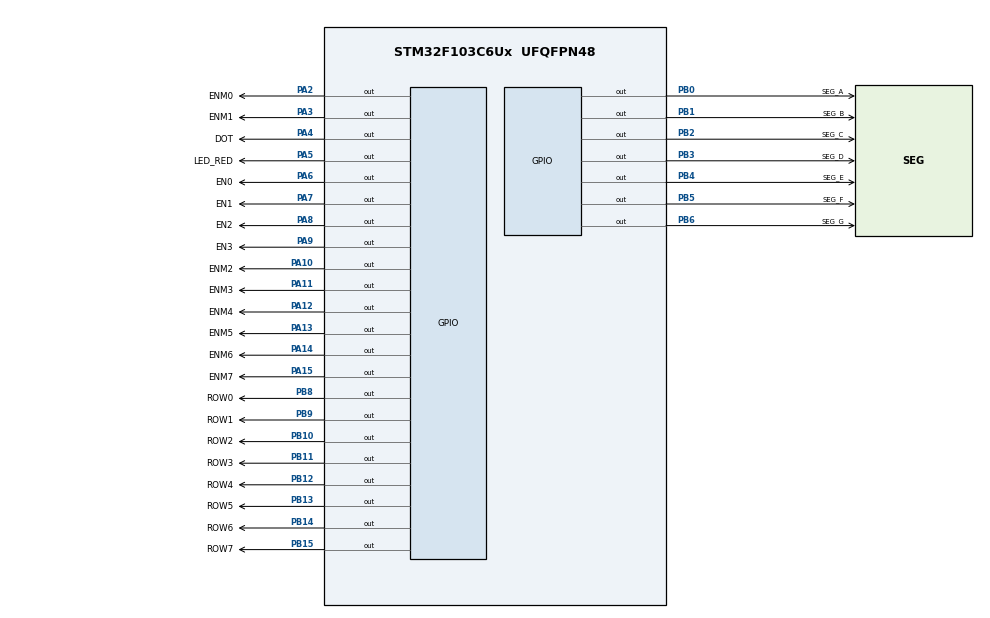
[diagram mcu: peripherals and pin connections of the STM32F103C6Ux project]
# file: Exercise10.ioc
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Mcu.Family=STM32F1
Mcu.Name=STM32F103C6Ux
Mcu.Package=UFQFPN48
NVIC.PriorityGroup=NVIC_PRIORITYGROUP_4
NVIC.TIM2_IRQn=true\:0\:0\:false\:false\:true\:true\:true
PA10.GPIO_Label=ENM2
PA10.Signal=GPIO_Output
PA11.GPIO_Label=ENM3
PA11.Signal=GPIO_Output
PA12.GPIO_Label=ENM4
PA12.Signal=GPIO_Output
PA13.GPIO_Label=ENM5
PA13.Signal=GPIO_Output
PA14.GPIO_Label=ENM6
PA14.Signal=GPIO_Output
PA15.GPIO_Label=ENM7
PA15.Signal=GPIO_Output
PA2.GPIO_Label=ENM0
PA2.Signal=GPIO_Output
PA3.GPIO_Label=ENM1
PA3.Signal=GPIO_Output
PA4.GPIO_Label=DOT
PA4.PinState=GPIO_PIN_SET
PA4.Signal=GPIO_Output
PA5.GPIO_Label=LED_RED
PA5.PinState=GPIO_PIN_SET
PA5.Signal=GPIO_Output
PA6.GPIO_Label=EN0
PA6.PinState=GPIO_PIN_SET
PA6.Signal=GPIO_Output
PA7.GPIO_Label=EN1
PA7.PinState=GPIO_PIN_SET
PA7.Signal=GPIO_Output
PA8.GPIO_Label=EN2
PA8.PinState=GPIO_PIN_SET
PA8.Signal=GPIO_Output
PA9.GPIO_Label=EN3
PA9.PinState=GPIO_PIN_SET
PA9.Signal=GPIO_Output
PB0.GPIO_Label=SEG_A
PB0.PinState=GPIO_PIN_SET
PB0.Signal=GPIO_Output
PB1.GPIO_Label=SEG_B
PB1.PinState=GPIO_PIN_SET
PB1.Signal=GPIO_Output
PB10.GPIO_Label=ROW2
PB10.Signal=GPIO_Output
PB11.GPIO_Label=ROW3
PB11.Signal=GPIO_Output
PB12.GPIO_Label=ROW4
PB12.Signal=GPIO_Output
PB13.GPIO_Label=ROW5
PB13.Signal=GPIO_Output
PB14.GPIO_Label=ROW6
PB14.Signal=GPIO_Output
PB15.GPIO_Label=ROW7
PB15.Signal=GPIO_Output
PB2.GPIO_Label=SEG_C
PB2.PinState=GPIO_PIN_SET
PB2.Signal=GPIO_Output
PB3.GPIO_Label=SEG_D
PB3.PinState=GPIO_PIN_SET
PB3.Signal=GPIO_Output
PB4.GPIO_Label=SEG_E
PB4.PinState=GPIO_PIN_SET
PB4.Signal=GPIO_Output
PB5.GPIO_Label=SEG_F
PB5.PinState=GPIO_PIN_SET
PB5.Signal=GPIO_Output
PB6.GPIO_Label=SEG_G
PB6.PinState=GPIO_PIN_SET
PB6.Signal=GPIO_Output
PB8.GPIO_Label=ROW0
PB8.Signal=GPIO_Output
PB9.GPIO_Label=ROW1
PB9.Signal=GPIO_Output
ProjectManager.HeapSize=0x200
ProjectManager.StackSize=0x400
ProjectManager.TargetToolchain=STM32CubeIDE
RCC.APB1Freq_Value=8000000
RCC.APB2Freq_Value=8000000
TIM2.Period=9
TIM2.Prescaler=7999
VP_SYS_VS_ND.Mode=No_Debug
VP_TIM2_VS_ClockSourceINT.Mode=Internal
board=custom

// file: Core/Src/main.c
/* USER CODE BEGIN Header */
/**
  * @file    main.c
  * @brief   Exercise 10 - 8x8 LED Matrix animation (character "A" moves left/right)
  */
/* USER CODE END Header */
#include "main.h"

TIM_HandleTypeDef htim2;

/* USER CODE BEGIN PV */
// ---- Clock ----
int hour = 15, minute = 8, second = 50;

// ---- 4 seven-segment LEDs ----
const int MAX_LED = 4;
int index_led = 0;
int led_buffer[4] = {1, 2, 3, 4};

// ---- LED matrix: each byte = one ROW, bit n = column n ----
const int MAX_LED_MATRIX = 8;
int index_led_matrix = 0;

// Original character "A" (never modified, used as the source of the animation)
const uint8_t A_pattern[8] = {0x18, 0x24, 0x24, 0x24, 0x3C, 0x24, 0x24, 0x24};

// Buffer actually displayed on the matrix
uint8_t matrix_buffer[8] = {0x18, 0x24, 0x24, 0x24, 0x3C, 0x24, 0x24, 0x24};

// ---- Animation ----
#define ANIMATION_PERIOD 300        // ms between two shifts
#define MAX_SHIFT        2          // "A" is 4 columns wide -> can move 2 columns each side
#define START_DIR       -1          // -1: start moving toward column 0, +1: the opposite
int shift_pos = 0;                  // 0 = center, <0 toward column 0, >0 toward column 7
int shift_dir = START_DIR;

GPIO_TypeDef* enm_port[8] = {ENM0_GPIO_Port, ENM1_GPIO_Port, ENM2_GPIO_Port, ENM3_GPIO_Port,
                             ENM4_GPIO_Port, ENM5_GPIO_Port, ENM6_GPIO_Port, ENM7_GPIO_Port};
uint16_t enm_pin[8] = {ENM0_Pin, ENM1_Pin, ENM2_Pin, ENM3_Pin,
                       ENM4_Pin, ENM5_Pin, ENM6_Pin, ENM7_Pin};

// ---- Software timers (TIM2: Prescaler 7999, Period 9 -> 10ms) ----
int TIMER_CYCLE = 10;
volatile int timer0_counter = 0, timer0_flag = 0;   // 1s (clock + DOT)
volatile int timer1_counter = 0, timer1_flag = 0;   // 7SEG scan
volatile int timer2_counter = 0, timer2_flag = 0;   // matrix scan
volatile int timer3_counter = 0, timer3_flag = 0;   // animation
/* USER CODE END PV */

void SystemClock_Config(void);
static void MX_GPIO_Init(void);
static void MX_TIM2_Init(void);
/* USER CODE BEGIN PFP */
void display7SEG(int num);
void update7SEG(int index);
void updateClockBuffer(void);
void updateLEDMatrix(int index);
void updateAnimation(void);
void setTimer0(int duration);
void setTimer1(int duration);
void setTimer2(int duration);
void setTimer3(int duration);
void timer_run(void);
/* USER CODE END PFP */

int main(void)
{

  HAL_Init();

  SystemClock_Config();

  MX_GPIO_Init();
  MX_TIM2_Init();
  /* USER CODE BEGIN 2 */
  // Matrix idle: all rows High (off), all columns High (ENM High -> dark)
  GPIOB->ODR |= 0xFF00;
  HAL_GPIO_WritePin(GPIOA, ENM0_Pin|ENM1_Pin|ENM2_Pin|ENM3_Pin
                          |ENM4_Pin|ENM5_Pin|ENM6_Pin|ENM7_Pin, GPIO_PIN_SET);

  HAL_TIM_Base_Start_IT(&htim2);
  updateClockBuffer();
  setTimer0(1000);
  setTimer1(500);
  setTimer2(10);
  setTimer3(ANIMATION_PERIOD);
  /* USER CODE END 2 */

  while (1)
  {

    /* USER CODE BEGIN 3 */
    if (timer0_flag == 1) {
        setTimer0(1000);
        second++;
        if (second >= 60) { second = 0; minute++; }
        if (minute >= 60) { minute = 0; hour++; }
        if (hour >= 24)   { hour = 0; }
        updateClockBuffer();
        HAL_GPIO_TogglePin(DOT_GPIO_Port, DOT_Pin);
    }

    if (timer1_flag == 1) {
        setTimer1(500);
        update7SEG(index_led++);
        if (index_led >= MAX_LED) index_led = 0;
    }

    if (timer2_flag == 1) {
        setTimer2(10);
        updateLEDMatrix(index_led_matrix++);
        if (index_led_matrix >= MAX_LED_MATRIX) index_led_matrix = 0;
    }

    if (timer3_flag == 1) {
        setTimer3(ANIMATION_PERIOD);
        updateAnimation();
    }
    /* USER CODE END 3 */
  }
}

void SystemClock_Config(void)
{
  RCC_OscInitTypeDef RCC_OscInitStruct = {0};
  RCC_ClkInitTypeDef RCC_ClkInitStruct = {0};

  RCC_OscInitStruct.OscillatorType = RCC_OSCILLATORTYPE_HSI;
  RCC_OscInitStruct.HSIState = RCC_HSI_ON;
  RCC_OscInitStruct.HSICalibrationValue = RCC_HSICALIBRATION_DEFAULT;
  RCC_OscInitStruct.PLL.PLLState = RCC_PLL_NONE;
  if (HAL_RCC_OscConfig(&RCC_OscInitStruct) != HAL_OK)
  {
    Error_Handler();
  }
  RCC_ClkInitStruct.ClockType = RCC_CLOCKTYPE_HCLK|RCC_CLOCKTYPE_SYSCLK
                              |RCC_CLOCKTYPE_PCLK1|RCC_CLOCKTYPE_PCLK2;
  RCC_ClkInitStruct.SYSCLKSource = RCC_SYSCLKSOURCE_HSI;
  RCC_ClkInitStruct.AHBCLKDivider = RCC_SYSCLK_DIV1;
  RCC_ClkInitStruct.APB1CLKDivider = RCC_HCLK_DIV1;
  RCC_ClkInitStruct.APB2CLKDivider = RCC_HCLK_DIV1;

  if (HAL_RCC_ClockConfig(&RCC_ClkInitStruct, FLASH_LATENCY_0) != HAL_OK)
  {
    Error_Handler();
  }
}

static void MX_TIM2_Init(void)
{
  TIM_ClockConfigTypeDef sClockSourceConfig = {0};
  TIM_MasterConfigTypeDef sMasterConfig = {0};

  htim2.Instance = TIM2;
  htim2.Init.Prescaler = 7999;
  htim2.Init.CounterMode = TIM_COUNTERMODE_UP;
  htim2.Init.Period = 9;
  htim2.Init.ClockDivision = TIM_CLOCKDIVISION_DIV1;
  htim2.Init.AutoReloadPreload = TIM_AUTORELOAD_PRELOAD_DISABLE;
  if (HAL_TIM_Base_Init(&htim2) != HAL_OK)
  {
    Error_Handler();
  }
  sClockSourceConfig.ClockSource = TIM_CLOCKSOURCE_INTERNAL;
  if (HAL_TIM_ConfigClockSource(&htim2, &sClockSourceConfig) != HAL_OK)
  {
    Error_Handler();
  }
  sMasterConfig.MasterOutputTrigger = TIM_TRGO_RESET;
  sMasterConfig.MasterSlaveMode = TIM_MASTERSLAVEMODE_DISABLE;
  if (HAL_TIMEx_MasterConfigSynchronization(&htim2, &sMasterConfig) != HAL_OK)
  {
    Error_Handler();
  }
}

static void MX_GPIO_Init(void)
{
  GPIO_InitTypeDef GPIO_InitStruct = {0};

  __HAL_RCC_GPIOA_CLK_ENABLE();
  __HAL_RCC_GPIOB_CLK_ENABLE();

  HAL_GPIO_WritePin(GPIOA, ENM0_Pin|ENM1_Pin|ENM2_Pin|ENM3_Pin
                          |ENM4_Pin|ENM5_Pin|ENM6_Pin|ENM7_Pin, GPIO_PIN_RESET);

  HAL_GPIO_WritePin(GPIOA, DOT_Pin|LED_RED_Pin|EN0_Pin|EN1_Pin
                          |EN2_Pin|EN3_Pin, GPIO_PIN_SET);

  HAL_GPIO_WritePin(GPIOB, SEG_A_Pin|SEG_B_Pin|SEG_C_Pin|SEG_D_Pin
                          |SEG_E_Pin|SEG_F_Pin|SEG_G_Pin, GPIO_PIN_SET);

  HAL_GPIO_WritePin(GPIOB, ROW2_Pin|ROW3_Pin|ROW4_Pin|ROW5_Pin
                          |ROW6_Pin|ROW7_Pin|ROW0_Pin|ROW1_Pin, GPIO_PIN_RESET);

  GPIO_InitStruct.Pin = ENM0_Pin|ENM1_Pin|DOT_Pin|LED_RED_Pin
                          |EN0_Pin|EN1_Pin|EN2_Pin|EN3_Pin
                          |ENM2_Pin|ENM3_Pin|ENM4_Pin|ENM5_Pin
                          |ENM6_Pin|ENM7_Pin;
  GPIO_InitStruct.Mode = GPIO_MODE_OUTPUT_PP;
  GPIO_InitStruct.Pull = GPIO_NOPULL;
  GPIO_InitStruct.Speed = GPIO_SPEED_FREQ_LOW;
  HAL_GPIO_Init(GPIOA, &GPIO_InitStruct);

  GPIO_InitStruct.Pin = SEG_A_Pin|SEG_B_Pin|SEG_C_Pin|ROW2_Pin
                          |ROW3_Pin|ROW4_Pin|ROW5_Pin|ROW6_Pin
                          |ROW7_Pin|SEG_D_Pin|SEG_E_Pin|SEG_F_Pin
                          |SEG_G_Pin|ROW0_Pin|ROW1_Pin;
  GPIO_InitStruct.Mode = GPIO_MODE_OUTPUT_PP;
  GPIO_InitStruct.Pull = GPIO_NOPULL;
  GPIO_InitStruct.Speed = GPIO_SPEED_FREQ_LOW;
  HAL_GPIO_Init(GPIOB, &GPIO_InitStruct);
}

/* USER CODE BEGIN 4 */

// Common anode: 0 = segment ON. Bit order: a b c d e f g
void display7SEG(int num)
{
    const uint8_t seg[10][7] = {
        {0,0,0,0,0,0,1}, {1,0,0,1,1,1,1}, {0,0,1,0,0,1,0}, {0,0,0,0,1,1,0},
        {1,0,0,1,1,0,0}, {0,1,0,0,1,0,0}, {0,1,0,0,0,0,0}, {0,0,0,1,1,1,1},
        {0,0,0,0,0,0,0}, {0,0,0,0,1,0,0}
    };
    const uint16_t pins[7] = {SEG_A_Pin, SEG_B_Pin, SEG_C_Pin, SEG_D_Pin,
                              SEG_E_Pin, SEG_F_Pin, SEG_G_Pin};
    for (int i = 0; i < 7; i++) {
        GPIO_PinState s = GPIO_PIN_SET;
        if (num >= 0 && num <= 9) s = seg[num][i] ? GPIO_PIN_SET : GPIO_PIN_RESET;
        HAL_GPIO_WritePin(GPIOB, pins[i], s);
    }
}

void update7SEG(int index)
{
    HAL_GPIO_WritePin(GPIOA, EN0_Pin|EN1_Pin|EN2_Pin|EN3_Pin, GPIO_PIN_SET);
    switch (index) {
        case 0: display7SEG(led_buffer[0]); HAL_GPIO_WritePin(EN0_GPIO_Port, EN0_Pin, GPIO_PIN_RESET); break;
        case 1: display7SEG(led_buffer[1]); HAL_GPIO_WritePin(EN1_GPIO_Port, EN1_Pin, GPIO_PIN_RESET); break;
        case 2: display7SEG(led_buffer[2]); HAL_GPIO_WritePin(EN2_GPIO_Port, EN2_Pin, GPIO_PIN_RESET); break;
        case 3: display7SEG(led_buffer[3]); HAL_GPIO_WritePin(EN3_GPIO_Port, EN3_Pin, GPIO_PIN_RESET); break;
        default: break;
    }
}

void updateClockBuffer(void)
{
    led_buffer[0] = hour / 10;
    led_buffer[1] = hour % 10;
    led_buffer[2] = minute / 10;
    led_buffer[3] = minute % 10;
}

// Scan by ROW: selected row = Low (cathode), column data = !bit (ENM Low -> lit)
void updateLEDMatrix(int index)
{
    if (index < 0 || index >= MAX_LED_MATRIX) return;
    uint8_t value = matrix_buffer[index];

    // 1. turn off all rows
    GPIOB->ODR |= 0xFF00;

    // 2. column data
    for (int i = 0; i < 8; i++) {
        HAL_GPIO_WritePin(enm_port[i], enm_pin[i],
                          (GPIO_PinState)(!((value >> i) & 1)));
    }

    // 3. turn on the selected row (PB8 + index)
    GPIOB->ODR &= ~((uint16_t)1 << (8 + index));
}

// Exercise 10: move the character "A" left and right.
// The character bounces between the two edges of the matrix:
//   center -> toward column 0 -> back -> toward column 7 -> back -> ...
void updateAnimation(void)
{
    // 1. next position
    shift_pos += shift_dir;
    if (shift_pos <= -MAX_SHIFT) shift_dir = 1;     // reached one edge: turn around
    if (shift_pos >=  MAX_SHIFT) shift_dir = -1;    // reached the other edge: turn around

    // 2. rebuild the buffer from the original pattern
    for (int i = 0; i < 8; i++) {
        if (shift_pos < 0)
            matrix_buffer[i] = (uint8_t)(A_pattern[i] >> (-shift_pos));
        else
            matrix_buffer[i] = (uint8_t)(A_pattern[i] << shift_pos);
    }
}

void setTimer0(int duration) { timer0_counter = duration / TIMER_CYCLE; timer0_flag = 0; }
void setTimer1(int duration) { timer1_counter = duration / TIMER_CYCLE; timer1_flag = 0; }
void setTimer2(int duration) { timer2_counter = duration / TIMER_CYCLE; timer2_flag = 0; }
void setTimer3(int duration) { timer3_counter = duration / TIMER_CYCLE; timer3_flag = 0; }

void timer_run(void)
{
    if (timer0_counter > 0) { timer0_counter--; if (timer0_counter == 0) timer0_flag = 1; }
    if (timer1_counter > 0) { timer1_counter--; if (timer1_counter == 0) timer1_flag = 1; }
    if (timer2_counter > 0) { timer2_counter--; if (timer2_counter == 0) timer2_flag = 1; }
    if (timer3_counter > 0) { timer3_counter--; if (timer3_counter == 0) timer3_flag = 1; }
}

void HAL_TIM_PeriodElapsedCallback(TIM_HandleTypeDef *htim)
{
    if (htim->Instance == TIM2) {
        timer_run();
    }
}
/* USER CODE END 4 */

void Error_Handler(void)
{
  __disable_irq();
  while (1)
  {
  }
}
